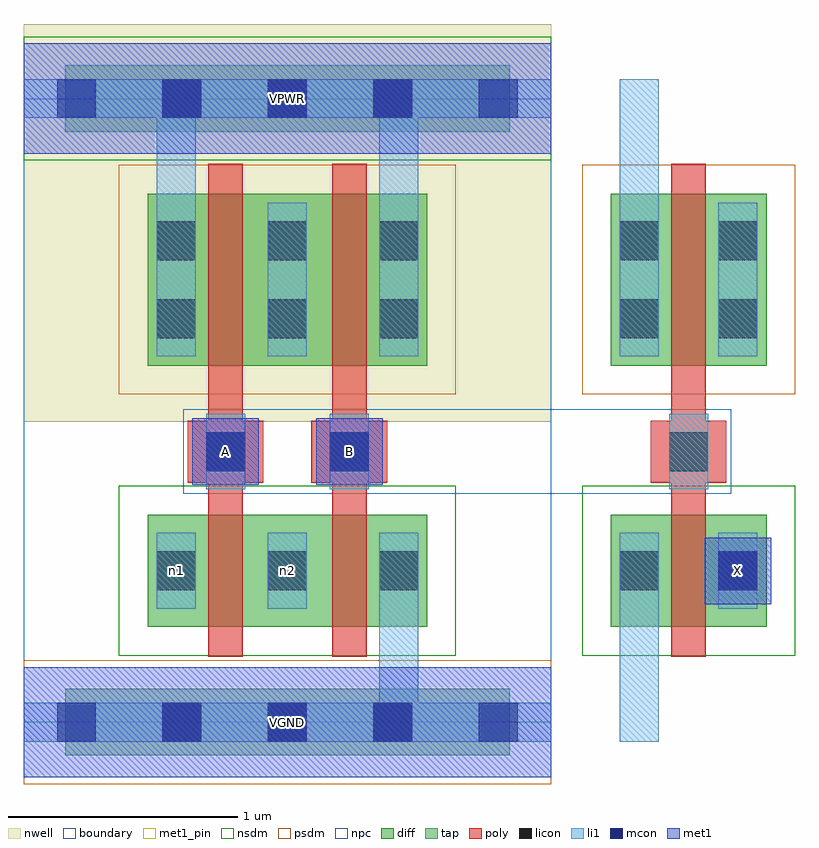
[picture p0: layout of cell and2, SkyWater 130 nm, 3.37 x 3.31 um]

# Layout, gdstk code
import gdstk
lib = gdstk.Library(unit=1e-6, precision=1e-09)
def R(c, l, rs):  # rectangles x0, y0, x1, y1
    for r in rs: c.add(gdstk.rectangle(r[:2], r[2:], *l))
def A(c, l, x, y, w, h, nx, ny, dx, dy):  # array of equal rectangles
    R(c, l, [(x+i*dx, y+j*dy, x+i*dx+w, y+j*dy+h) for i in range(nx) for j in range(ny)])
nwell = (64, 20)
diff = (65, 20)
tap = (65, 44)
poly = (66, 20)
licon = (66, 44)
li1 = (67, 20)
mcon = (67, 44)
met1_pin = (68, 16)
met1 = (68, 20)
nsdm = (93, 44)
psdm = (94, 20)
npc = (95, 20)
boundary = (235, 4)

and2 = lib.new_cell('and2')
R(and2, nwell, [(0,1.31,2.3,3.045)])
R(and2, diff, [(0.54,0.415,1.76,0.905), (2.56,0.415,3.24,0.905), (0.54,1.555,1.76,2.305), (2.56,1.555,3.24,2.305)])
R(and2, tap, [(0.18,-0.145,2.12,0.145), (0.18,2.575,2.12,2.865)])
R(and2, poly, [(0.805,0.285,0.955,2.435), (1.345,0.285,1.495,2.435), (2.825,0.285,2.975,2.435), (0.715,1.045,1.045,1.315), (1.255,1.045,1.585,1.315), (2.735,1.045,3.065,1.315)])
A(and2, licon, 0.605, -0.085, 0.17, 0.17, 3, 2, 0.46, 2.72)
A(and2, licon, 0.58, 0.575, 0.17, 0.17, 3, 2, 0.485, 1.1)
A(and2, licon, 0.58, 2.015, 0.17, 0.17, 3, 1, 0.485, 0)
R(and2, licon, [(2.6,0.575,2.77,0.745), (3.03,0.575,3.2,0.745), (0.795,1.095,0.965,1.265), (1.335,1.095,1.505,1.265), (2.815,1.095,2.985,1.265), (2.6,1.675,2.77,1.845), (3.03,1.675,3.2,1.845), (2.6,2.015,2.77,2.185), (3.03,2.015,3.2,2.185)])
A(and2, li1, 0.58, 0.495, 0.17, 0.33, 3, 1, 0.485, 0)
A(and2, li1, 0.58, 1.595, 0.17, 0.67, 3, 1, 0.485, 0)
R(and2, li1, [(0,-0.085,2.3,0.085), (1.55,-0.085,1.72,0.825), (2.6,-0.085,2.77,0.825), (2.6,0.495,2.77,0.825), (3.03,0.495,3.2,0.825), (0.795,1.015,0.965,1.345), (1.335,1.015,1.505,1.345), (2.815,1.015,2.985,1.345), (0.58,1.595,0.75,2.805), (1.55,1.595,1.72,2.805), (2.6,1.595,2.77,2.265), (2.6,1.595,2.77,2.805), (3.03,1.595,3.2,2.265), (0,2.635,2.3,2.805)])
A(and2, mcon, 0.145, -0.085, 0.17, 0.17, 5, 2, 0.46, 2.72)
R(and2, mcon, [(3.03,0.575,3.2,0.745), (0.795,1.095,0.965,1.265), (1.335,1.095,1.505,1.265)])
R(and2, met1_pin, [(0,-0.24,2.3,0.24), (2.97,0.515,3.26,0.805), (0.735,1.035,1.025,1.325), (1.275,1.035,1.565,1.325), (0,2.48,2.3,2.96)])
R(and2, met1, [(0,-0.24,2.3,0.24), (2.97,0.515,3.26,0.805), (0.735,1.035,1.025,1.325), (1.275,1.035,1.565,1.325), (0,2.48,2.3,2.96)])
R(and2, nsdm, [(0.415,0.29,1.885,1.03), (2.435,0.29,3.365,1.03), (0,2.45,2.3,2.99)])
R(and2, psdm, [(0,-0.27,2.3,0.27), (0.415,1.43,1.885,2.43), (2.435,1.43,3.365,2.43)])
R(and2, npc, [(0.695,0.995,3.085,1.365)])
R(and2, boundary, [(0,0,2.3,2.72)])
and2.add(gdstk.Label('n1', (0.665,0.66), layer=67, texttype=5))
and2.add(gdstk.Label('n2', (1.15,0.66), layer=67, texttype=5))
and2.add(gdstk.Label('A', (0.88,1.18), layer=68, texttype=5))
and2.add(gdstk.Label('B', (1.42,1.18), layer=68, texttype=5))
and2.add(gdstk.Label('X', (3.115,0.66), layer=68, texttype=5))
and2.add(gdstk.Label('VPWR', (1.15,2.72), layer=68, texttype=5))
and2.add(gdstk.Label('VGND', (1.15,0), layer=68, texttype=5))
and2.add(gdstk.Label('A', (0.88,1.18), layer=68, texttype=16))
and2.add(gdstk.Label('B', (1.42,1.18), layer=68, texttype=16))
and2.add(gdstk.Label('X', (3.115,0.66), layer=68, texttype=16))
and2.add(gdstk.Label('VPWR', (1.15,2.72), layer=68, texttype=16))
and2.add(gdstk.Label('VGND', (1.15,0), layer=68, texttype=16))

lib.write_gds('and2.gds')
